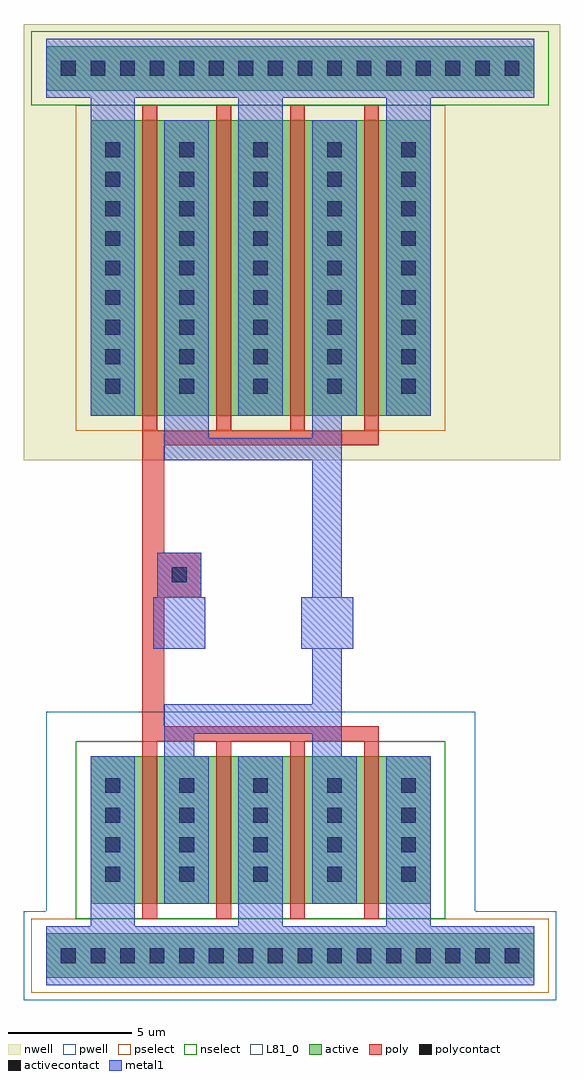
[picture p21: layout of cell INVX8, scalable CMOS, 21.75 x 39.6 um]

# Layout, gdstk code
import gdstk
lib = gdstk.Library(unit=1e-6, precision=1e-09)
def R(c, l, rs):  # rectangles x0, y0, x1, y1
    for r in rs: c.add(gdstk.rectangle(r[:2], r[2:], *l))
def A(c, l, x, y, w, h, nx, ny, dx, dy):  # array of equal rectangles
    R(c, l, [(x+i*dx, y+j*dy, x+i*dx+w, y+j*dy+h) for i in range(nx) for j in range(ny)])
pwell = (41, 0)
nwell = (42, 0)
active = (43, 0)
pselect = (44, 0)
nselect = (45, 0)
poly = (46, 0)
polycontact = (47, 0)
activecontact = (48, 0)
metal1 = (49, 0)
L81_0 = (81, 0)

invx8 = lib.new_cell('INVX8')
R(invx8, pwell, [(-1.8,-1.8,19.8,1.8), (-0.9,1.8,16.5,9.9)])
R(invx8, nwell, [(-1.8,20.1,19.95,37.8)])
R(invx8, active, [(-0.9,-0.9,18.9,0.9), (0.9,2.1,14.7,8.1), (0.9,21.9,14.7,33.9), (-0.9,35.1,18.9,36.9)])
R(invx8, pselect, [(-1.5,-1.5,19.5,1.5), (0.3,21.3,15.3,34.5)])
R(invx8, nselect, [(0.3,1.5,15.3,8.7), (-1.5,34.5,19.5,37.5)])
A(invx8, poly, 3, 1.5, 0.6, 7.2, 4, 1, 3, 0)
A(invx8, poly, 3, 21.3, 0.6, 13.2, 4, 1, 3, 0)
R(invx8, poly, [(3,8.7,12.6,9.3), (3,9.3,3.9,14.55), (3,14.55,5.4,16.35), (3,16.35,3.9,20.7), (3,20.7,12.6,21.3)])
R(invx8, polycontact, [(4.2,15.15,4.8,15.75)])
A(invx8, activecontact, -0.3, -0.3, 0.6, 0.6, 16, 2, 1.2, 36)
A(invx8, activecontact, 1.5, 3, 0.6, 0.6, 5, 4, 3, 1.2)
A(invx8, activecontact, 1.5, 22.8, 0.6, 0.6, 5, 9, 3, 1.2)
A(invx8, metal1, 0.9, 1.2, 1.8, 6.9, 3, 1, 6, 0)
A(invx8, metal1, 0.9, 21.9, 1.8, 12.9, 3, 1, 6, 0)
R(invx8, metal1, [(-0.9,-1.2,18.9,1.2), (3.9,2.1,5.7,8.1), (9.9,2.1,11.7,8.1), (3.9,8.1,5.1,9), (9.9,8.1,11.1,9), (3.9,9,11.1,10.2), (9.9,10.2,11.1,12.45), (3.45,12.45,5.55,14.55), (9.45,12.45,11.55,14.55), (3.6,14.55,5.4,16.35), (9.9,14.55,11.1,20.1), (3.9,20.1,11.1,21), (3.9,21,5.7,33.9), (9.9,21,11.1,21.9), (9.9,21.9,11.7,33.9), (-0.9,34.8,18.9,37.2)])
R(invx8, L81_0, [(3.45,12.45,5.55,14.55), (9.45,12.45,11.55,14.55)])

lib.write_gds('INVX8.gds')
